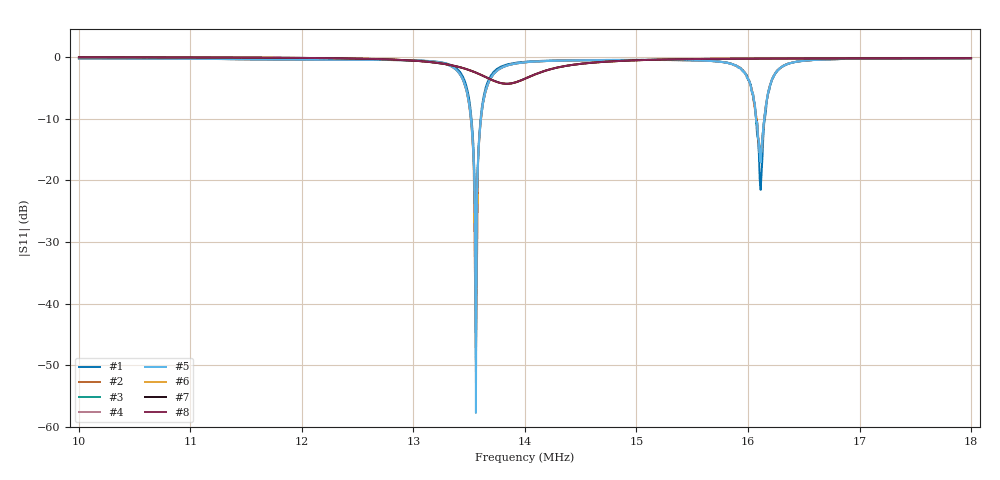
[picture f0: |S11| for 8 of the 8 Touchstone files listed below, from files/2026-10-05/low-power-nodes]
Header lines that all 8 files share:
! NanoVNA Web complex sweep
# Hz S RI R 50
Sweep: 10 MHz to 18 MHz
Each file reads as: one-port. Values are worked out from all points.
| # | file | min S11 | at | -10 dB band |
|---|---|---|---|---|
| 1 | AIT_T161_L125_rep1_shield-lug-slipped-off_nanovna-sweep-1791233613819.s1p | -40.1 dB | 13.56 MHz | 81.79 kHz wide |
| 2 | AIT_T163_L121_rep1_nanovna-sweep-1791233708257.s1p | -49.5 dB | 13.56 MHz | 92.86 kHz wide |
| 3 | AIT_T163_L121_rep2_nanovna-sweep-1791233869304.s1p | -49.1 dB | 13.56 MHz | 90.24 kHz wide |
| 4 | AIT_T163_L121_rep3_nanovna-sweep-1791233879889.s1p | -47.1 dB | 13.56 MHz | 90.66 kHz wide |
| 5 | AIT_T163_L121_rep4_nanovna-sweep-1791233949158.s1p | -57.7 dB | 13.56 MHz | 90.67 kHz wide |
| 6 | noAIT_probes-on-lugs_rep1_nanovna-sweep-1791233382276.s1p | -4.4 dB | 13.83 MHz | - |
| 7 | noAIT_probes-on-lugs_rep2_nanovna-sweep-1791233419114.s1p | -4.4 dB | 13.85 MHz | - |
| 8 | noAIT_probes-on-lugs_rep3_nanovna-sweep-1791233429205.s1p | -4.4 dB | 13.84 MHz | - |
